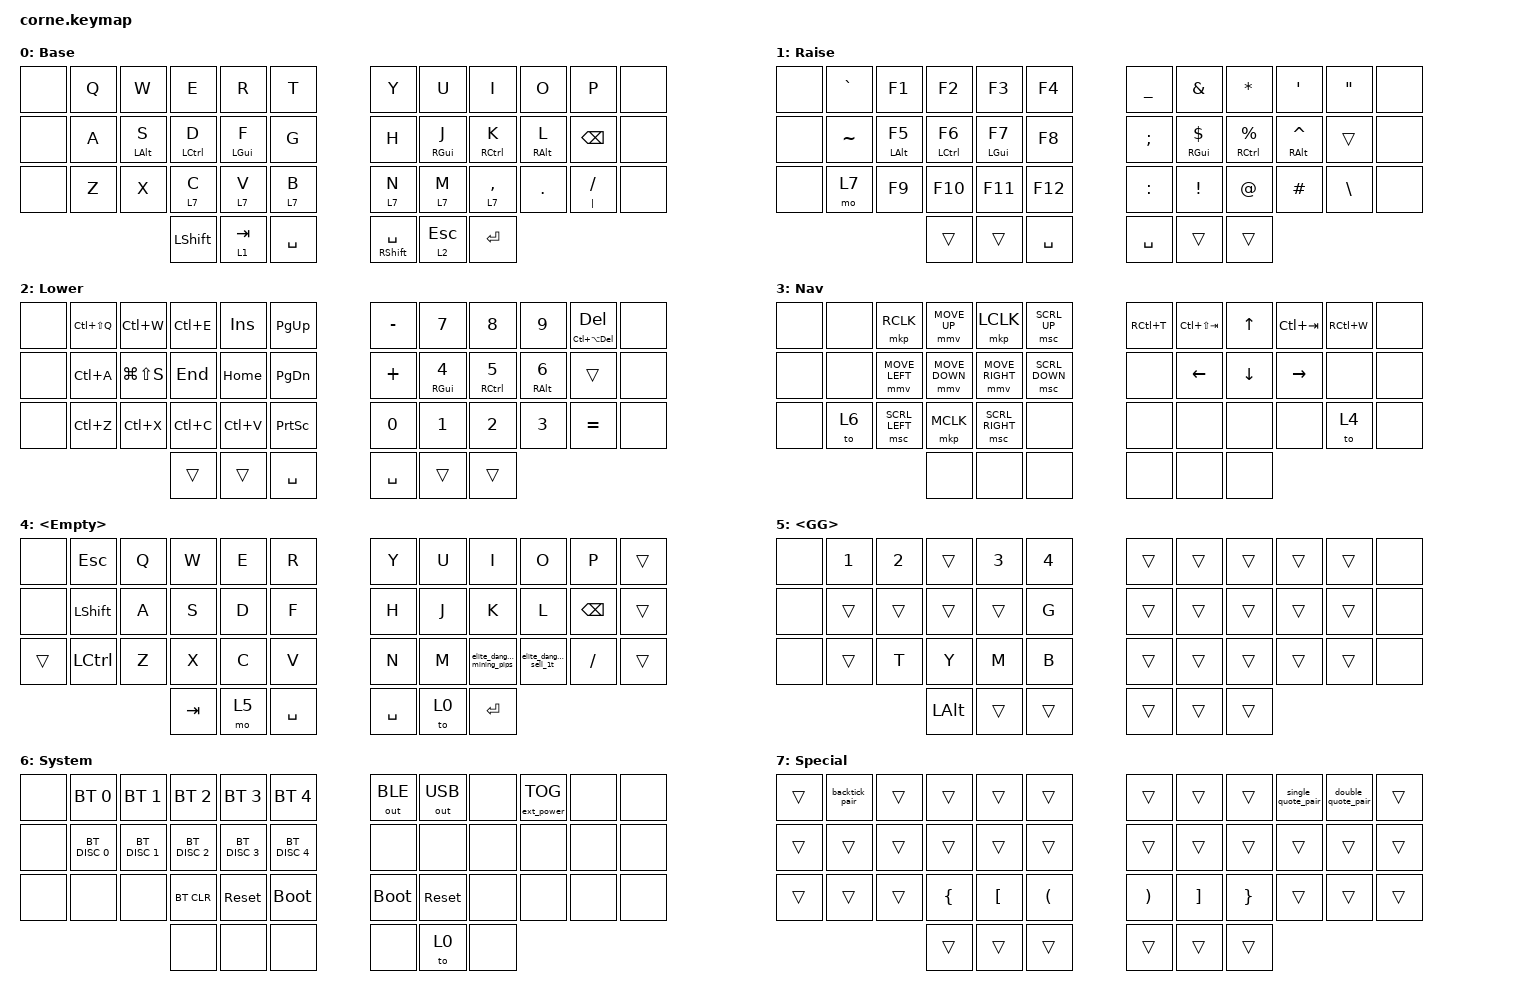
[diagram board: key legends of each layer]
/*
 * Copyright (c) 2020 The ZMK Contributors
 *
 * SPDX-License-Identifier: MIT
 */

#include <dt-bindings/zmk/mouse.h>
#include <behaviors.dtsi>
#include <dt-bindings/zmk/bt.h>
#include <dt-bindings/zmk/ext_power.h>
#include <dt-bindings/zmk/keys.h>
#include <dt-bindings/zmk/outputs.h>

&mt {
    flavor = "tap-preferred";
    tapping_term_ms = <200>;
};

/ {
    behaviors {
        TAP_DANCE: TAP_DANCE {
            compatible = "zmk,behavior-hold-tap";
            label = "TAP_DANCE";
            bindings = <&kp>, <&kp>;

            #binding-cells = <2>;
            tapping-term-ms = <200>;
            quick-tap-ms = <0>;
            flavor = "tap-preferred";
        };

        hml: hml {
            compatible = "zmk,behavior-hold-tap";
            label = "HML";
            bindings = <&kp>, <&kp>;

            #binding-cells = <2>;
            tapping-term-ms = <280>;
            quick-tap-ms = <175>;
            require-prior-idle-ms = <150>;
            flavor = "balanced";
            hold-trigger-key-positions = <6 7 8 9 10 22 21 20 19 18 30 31 32 33 34 41 39 36 38 40 37>;
            hold-trigger-on-release;
        };

        hmr: hmr {
            compatible = "zmk,behavior-hold-tap";
            label = "HMR";
            bindings = <&kp>, <&kp>;

            #binding-cells = <2>;
            tapping-term-ms = <280>;
            quick-tap-ms = <175>;
            require-prior-idle-ms = <150>;
            flavor = "balanced";
            hold-trigger-on-release;
            hold-trigger-key-positions = <1 2 3 4 5 13 14 15 16 17 25 26 27 28 29 36 38 39 41 37 40>;
        };
    };

    combos {
        compatible = "zmk,combos";

        paren_pair {
            bindings = <&open_close_paren>;
            key-positions = <29 30>;
        };

        bracket_pair {
            bindings = <&open_close_sqrbrkt>;
            key-positions = <28 31>;
        };

        brace_pair {
            bindings = <&open_close_braces>;
            key-positions = <27 32>;
        };
    };

    macros {
        open_close_paren: open_close_paren {
            compatible = "zmk,behavior-macro";
            #binding-cells = <0>;
            bindings = <&kp LEFT_PARENTHESIS &kp RIGHT_PARENTHESIS &kp LEFT_ARROW>;
            label = "OPEN_CLOSE_PAREN";
        };

        open_close_sqrbrkt: open_close_sqrbrkt {
            compatible = "zmk,behavior-macro";
            #binding-cells = <0>;
            bindings = <&kp LEFT_BRACKET &kp RIGHT_BRACKET &kp LEFT_ARROW>;
            label = "OPEN_CLOSE_SQRBRKT";
        };

        open_close_braces: open_close_braces {
            compatible = "zmk,behavior-macro";
            #binding-cells = <0>;
            bindings = <&kp LEFT_BRACE &kp RIGHT_BRACE &kp LEFT_ARROW>;
            label = "OPEN_CLOSE_BRACES";
        };

        double_quote_pair: double_quote_pair {
            compatible = "zmk,behavior-macro";
            #binding-cells = <0>;
            bindings = <&kp DOUBLE_QUOTES &kp DOUBLE_QUOTES &kp LEFT_ARROW>;
            label = "DOUBLE_QUOTE_PAIR";
        };

        single_quote_pair: single_quote_pair {
            compatible = "zmk,behavior-macro";
            #binding-cells = <0>;
            bindings = <&kp SINGLE_QUOTE &kp SINGLE_QUOTE &kp LEFT_ARROW>;
            label = "SINGLE_QUOTE_PAIR";
        };

        backtick_pair: backtick_pair {
            compatible = "zmk,behavior-macro";
            #binding-cells = <0>;
            bindings = <&kp GRAVE &kp GRAVE &kp LEFT_ARROW>;
            label = "BACKTICK_PAIR";
        };

        elite_dangerous_mining_pips: elite_dangerous_mining {
            compatible = "zmk,behavior-macro";
            #binding-cells = <0>;
            bindings = <&kp I &kp I &kp LS(S) &kp LS(D) &kp LS(D) &kp LS(D) &kp LS(D) &kp SLASH>;
            label = "ELITE_DANGEROUS_MINING";
        };

        elite_dangerous_sell_1t: elite_dangerous_sell_1t {
            compatible = "zmk,behavior-macro";
            #binding-cells = <0>;
            bindings =
                <&macro_tap &kp SPACE>,
                <&macro_press &kp W>,
                <&macro_tap_time 2000>,
                <&macro_tap &kp A>,
                <&macro_release &kp W>,
                <&macro_tap_time 15>,
                <&macro_tap &kp D &kp S>,
                <&macro_wait_time 2000>,
                <&macro_tap &kp SPACE>,
                <&macro_wait_time 15>,
                <&macro_tap &kp SPACE>,
                <&macro_press &kp W>,
                <&macro_tap_time 2000>,
                <&macro_tap &kp A>,
                <&macro_release &kp W>,
                <&macro_tap_time 15>,
                <&macro_tap &kp D &kp S>,
                <&macro_wait_time 2000>,
                <&macro_tap &kp SPACE>,
                <&macro_wait_time 15>,
                <&macro_tap &kp SPACE>,
                <&macro_press &kp W>,
                <&macro_tap_time 2000>,
                <&macro_tap &kp A>,
                <&macro_release &kp W>,
                <&macro_tap_time 15>,
                <&macro_tap &kp D &kp S>,
                <&macro_wait_time 2000>,
                <&macro_tap &kp SPACE>,
                <&macro_wait_time 15>,
                <&macro_tap &kp SPACE>,
                <&macro_press &kp W>,
                <&macro_tap_time 2000>,
                <&macro_tap &kp A>,
                <&macro_release &kp W>,
                <&macro_tap_time 15>,
                <&macro_tap &kp D &kp S>,
                <&macro_wait_time 2000>,
                <&macro_tap &kp SPACE>,
                <&macro_wait_time 15>,
                <&macro_tap &kp SPACE>,
                <&macro_press &kp W>,
                <&macro_tap_time 2000>,
                <&macro_tap &kp A>,
                <&macro_release &kp W>,
                <&macro_tap_time 15>,
                <&macro_tap &kp D &kp S>,
                <&macro_wait_time 2000>,
                <&macro_tap &kp SPACE>,
                <&macro_wait_time 15>,
                <&macro_tap &kp SPACE>,
                <&macro_press &kp W>,
                <&macro_tap_time 2000>,
                <&macro_tap &kp A>,
                <&macro_release &kp W>,
                <&macro_tap_time 15>,
                <&macro_tap &kp D &kp S>,
                <&macro_wait_time 2000>,
                <&macro_tap &kp SPACE>,
                <&macro_wait_time 15>,
                <&macro_tap &kp SPACE>,
                <&macro_press &kp W>,
                <&macro_tap_time 2000>,
                <&macro_tap &kp A>,
                <&macro_release &kp W>,
                <&macro_tap_time 15>,
                <&macro_tap &kp D &kp S>,
                <&macro_wait_time 2000>,
                <&macro_tap &kp SPACE>,
                <&macro_wait_time 15>,
                <&macro_tap &kp SPACE>,
                <&macro_press &kp W>,
                <&macro_tap_time 2000>,
                <&macro_tap &kp A>,
                <&macro_release &kp W>,
                <&macro_tap_time 15>,
                <&macro_tap &kp D &kp S>,
                <&macro_wait_time 2000>,
                <&macro_tap &kp SPACE>,
                <&macro_wait_time 15>,
                <&macro_tap &kp SPACE>,
                <&macro_press &kp W>,
                <&macro_tap_time 2000>,
                <&macro_tap &kp A>,
                <&macro_release &kp W>,
                <&macro_tap_time 15>,
                <&macro_tap &kp D &kp S>,
                <&macro_wait_time 2000>,
                <&macro_tap &kp SPACE>,
                <&macro_wait_time 15>,
                <&macro_tap &kp SPACE>,
                <&macro_press &kp W>,
                <&macro_tap_time 2000>,
                <&macro_tap &kp A>,
                <&macro_release &kp W>,
                <&macro_tap_time 15>,
                <&macro_tap &kp D &kp S>,
                <&macro_wait_time 2000>,
                <&macro_tap &kp SPACE>,
                <&macro_wait_time 15>,
                <&macro_tap &kp SPACE>,
                <&macro_press &kp W>,
                <&macro_tap_time 2000>,
                <&macro_tap &kp A>,
                <&macro_release &kp W>,
                <&macro_tap_time 15>,
                <&macro_tap &kp D &kp S>,
                <&macro_wait_time 2000>,
                <&macro_tap &kp SPACE>,
                <&macro_wait_time 15>,
                <&macro_tap &kp SPACE>,
                <&macro_press &kp W>,
                <&macro_tap_time 2000>,
                <&macro_tap &kp A>,
                <&macro_release &kp W>,
                <&macro_tap_time 15>,
                <&macro_tap &kp D &kp S>,
                <&macro_wait_time 2000>,
                <&macro_tap &kp SPACE>,
                <&macro_wait_time 15>,
                <&macro_tap &kp SPACE>,
                <&macro_press &kp W>,
                <&macro_tap_time 2000>,
                <&macro_tap &kp A>,
                <&macro_release &kp W>,
                <&macro_tap_time 15>,
                <&macro_tap &kp D &kp S>,
                <&macro_wait_time 2000>,
                <&macro_tap &kp SPACE>,
                <&macro_wait_time 15>,
                <&macro_tap &kp SPACE>,
                <&macro_press &kp W>,
                <&macro_tap_time 2000>,
                <&macro_tap &kp A>,
                <&macro_release &kp W>,
                <&macro_tap_time 15>,
                <&macro_tap &kp D &kp S>,
                <&macro_wait_time 2000>,
                <&macro_tap &kp SPACE>,
                <&macro_wait_time 15>,
                <&macro_tap &kp SPACE>,
                <&macro_press &kp W>,
                <&macro_tap_time 2000>,
                <&macro_tap &kp A>,
                <&macro_release &kp W>,
                <&macro_tap_time 15>,
                <&macro_tap &kp D &kp S>,
                <&macro_wait_time 2000>,
                <&macro_tap &kp SPACE>,
                <&macro_wait_time 15>,
                <&macro_tap &kp SPACE>,
                <&macro_press &kp W>,
                <&macro_tap_time 2000>,
                <&macro_tap &kp A>,
                <&macro_release &kp W>,
                <&macro_tap_time 15>,
                <&macro_tap &kp D &kp S>,
                <&macro_wait_time 2000>,
                <&macro_tap &kp SPACE>,
                <&macro_wait_time 15>,
                <&macro_tap &kp SPACE>,
                <&macro_press &kp W>,
                <&macro_tap_time 2000>,
                <&macro_tap &kp A>,
                <&macro_release &kp W>,
                <&macro_tap_time 15>,
                <&macro_tap &kp D &kp S>,
                <&macro_wait_time 2000>,
                <&macro_tap &kp SPACE>,
                <&macro_wait_time 15>,
                <&macro_tap &kp SPACE>,
                <&macro_press &kp W>,
                <&macro_tap_time 2000>,
                <&macro_tap &kp A>,
                <&macro_release &kp W>,
                <&macro_tap_time 15>,
                <&macro_tap &kp D &kp S>,
                <&macro_wait_time 2000>,
                <&macro_tap &kp SPACE>,
                <&macro_wait_time 15>,
                <&macro_tap &kp SPACE>,
                <&macro_press &kp W>,
                <&macro_tap_time 2000>,
                <&macro_tap &kp A>,
                <&macro_release &kp W>,
                <&macro_tap_time 15>,
                <&macro_tap &kp D &kp S>,
                <&macro_wait_time 2000>,
                <&macro_tap &kp SPACE>,
                <&macro_wait_time 15>,
                <&macro_tap &kp SPACE>,
                <&macro_press &kp W>,
                <&macro_tap_time 2000>,
                <&macro_tap &kp A>,
                <&macro_release &kp W>,
                <&macro_tap_time 15>,
                <&macro_tap &kp D &kp S>,
                <&macro_wait_time 2000>,
                <&macro_tap &kp SPACE>,
                <&macro_wait_time 15>,
                <&macro_tap &kp SPACE>,
                <&macro_press &kp W>,
                <&macro_tap_time 2000>,
                <&macro_tap &kp A>,
                <&macro_release &kp W>,
                <&macro_tap_time 15>,
                <&macro_tap &kp D &kp S>,
                <&macro_wait_time 2000>,
                <&macro_tap &kp SPACE>,
                <&macro_wait_time 15>,
                <&macro_tap &kp SPACE>,
                <&macro_press &kp W>,
                <&macro_tap_time 2000>,
                <&macro_tap &kp A>,
                <&macro_release &kp W>,
                <&macro_tap_time 15>,
                <&macro_tap &kp D &kp S>,
                <&macro_wait_time 2000>,
                <&macro_tap &kp SPACE>,
                <&macro_wait_time 15>,
                <&macro_tap &kp SPACE>,
                <&macro_press &kp W>,
                <&macro_tap_time 2000>,
                <&macro_tap &kp A>,
                <&macro_release &kp W>,
                <&macro_tap_time 15>,
                <&macro_tap &kp D &kp S>,
                <&macro_wait_time 2000>,
                <&macro_tap &kp SPACE>,
                <&macro_wait_time 15>,
                <&macro_tap &kp SPACE>,
                <&macro_press &kp W>,
                <&macro_tap_time 2000>,
                <&macro_tap &kp A>,
                <&macro_release &kp W>,
                <&macro_tap_time 15>,
                <&macro_tap &kp D &kp S>,
                <&macro_wait_time 2000>,
                <&macro_tap &kp SPACE>,
                <&macro_wait_time 15>,
                <&macro_tap &kp SPACE>,
                <&macro_press &kp W>,
                <&macro_tap_time 2000>,
                <&macro_tap &kp A>,
                <&macro_release &kp W>,
                <&macro_tap_time 15>,
                <&macro_tap &kp D &kp S>,
                <&macro_wait_time 2000>,
                <&macro_tap &kp SPACE>,
                <&macro_wait_time 15>;
            label = "ELITE_DANGEROUS_SELL_1T";
        };
    };

    keymap {
        compatible = "zmk,keymap";

        Base {
            bindings = <
&none  &kp Q  &kp W            &kp E                &kp R            &kp T        &kp Y                         &kp U             &kp I                 &kp O             &kp P                  &none
&none  &kp A  &hml LEFT_ALT S  &hml LEFT_CONTROL D  &hml LEFT_GUI F  &kp G        &kp H                         &hmr RIGHT_GUI J  &hmr RIGHT_CONTROL K  &hmr RIGHT_ALT L  &kp BSPC               &none
&none  &kp Z  &kp X            &lt 7 C              &lt 7 V          &lt 7 B      &lt 7 N                       &lt 7 M           &lt 7 COMMA           &kp PERIOD        &TAP_DANCE PIPE SLASH  &none
                               &kp LEFT_SHIFT       &lt 1 TAB        &kp SPACE    &TAP_DANCE RIGHT_SHIFT SPACE  &lt 2 ESCAPE      &kp ENTER
            >;

            label = "Base";
        };

        Raise {
            bindings = <
&none  &kp GRAVE  &kp F1            &kp F2                &kp F3            &kp F4       &kp UNDER      &kp AMPERSAND          &kp ASTRK                   &kp APOS              &kp DOUBLE_QUOTES  &none
&none  &kp TILDE  &hml LEFT_ALT F5  &hml LEFT_CONTROL F6  &hml LEFT_GUI F7  &kp F8       &kp SEMICOLON  &hmr RIGHT_GUI DOLLAR  &hmr RIGHT_CONTROL PERCENT  &hmr RIGHT_ALT CARET  &trans             &none
&none  &mo 7      &kp F9            &kp F10               &kp F11           &kp F12      &kp COLON      &kp EXCL               &kp AT                      &kp HASH              &kp BACKSLASH      &none
                                    &trans                &trans            &kp SPACE    &kp SPACE      &trans                 &trans
            >;

            label = "Raise";
        };

        Lower {
            bindings = <
&none  &kp LC(LS(Q))  &kp LC(W)      &kp LC(E)  &kp INSERT  &kp PAGE_UP        &kp MINUS  &kp N7              &kp N8                 &kp N9                   &TAP_DANCE LC(LA(DELETE)) DELETE  &none
&none  &kp LC(A)      &kp LG(LS(S))  &kp END    &kp HOME    &kp PAGE_DOWN      &kp PLUS   &hmr RGUI NUMBER_4  &hmr RIGHT_CONTROL N5  &hmr RIGHT_ALT NUMBER_6  &trans                            &none
&none  &kp LC(Z)      &kp LC(X)      &kp LC(C)  &kp LC(V)   &kp PRINTSCREEN    &kp N0     &kp NUMBER_1        &kp NUMBER_2           &kp NUMBER_3             &kp EQUAL                         &none
                                     &trans     &trans      &kp SPACE          &kp SPACE  &trans              &trans
            >;

            label = "Lower";
        };

        Navigation {
            bindings = <
&none  &none  &mkp RCLK       &mmv MOVE_UP    &mkp LCLK        &msc SCRL_UP      &kp RC(T)  &kp LC(LS(TAB))  &kp UP    &kp LC(TAB)  &kp RC(W)  &none
&none  &none  &mmv MOVE_LEFT  &mmv MOVE_DOWN  &mmv MOVE_RIGHT  &msc SCRL_DOWN    &none      &kp LEFT         &kp DOWN  &kp RIGHT    &none      &none
&none  &to 6  &msc SCRL_LEFT  &mkp MCLK       &msc SCRL_RIGHT  &none             &none      &none            &none     &none        &to 4      &none
                              &none           &none            &none             &none      &none            &none
            >;

            label = "Nav";
        };

        Gaming {
            bindings = <
&none   &kp ESC    &kp Q  &kp W    &kp E  &kp R        &kp Y      &kp U  &kp I                         &kp O                     &kp P     &trans
&none   &kp LSHFT  &kp A  &kp S    &kp D  &kp F        &kp H      &kp J  &kp K                         &kp L                     &kp BSPC  &trans
&trans  &kp LCTRL  &kp Z  &kp X    &kp C  &kp V        &kp N      &kp M  &elite_dangerous_mining_pips  &elite_dangerous_sell_1t  &kp FSLH  &trans
                          &kp TAB  &mo 5  &kp SPACE    &kp SPACE  &to 0  &kp RET
            >;

            label = "<Empty>";
        };

        Gaming_sublayer {
            bindings = <
&none  &kp N1  &kp N2  &trans        &kp NUMBER_3  &kp N4    &trans  &trans  &trans  &trans  &trans  &none
&none  &trans  &trans  &trans        &trans        &kp G     &trans  &trans  &trans  &trans  &trans  &none
&none  &trans  &kp T   &kp Y         &kp M         &kp B     &trans  &trans  &trans  &trans  &trans  &none
                       &kp LEFT_ALT  &trans        &trans    &trans  &trans  &trans
            >;

            label = "<GG>";
        };

        System {
            bindings = <
&none  &bt BT_SEL 0   &bt BT_SEL 1   &bt BT_SEL 2   &bt BT_SEL 3   &bt BT_SEL 4     &out OUT_BLE  &out OUT_USB  &none  &ext_power EP_TOG  &none  &none
&none  &bt BT_DISC 0  &bt BT_DISC 1  &bt BT_DISC 2  &bt BT_DISC 3  &bt BT_DISC 4    &none         &none         &none  &none              &none  &none
&none  &none          &none          &bt BT_CLR     &sys_reset     &bootloader      &bootloader   &sys_reset    &none  &none              &none  &none
                                     &none          &none          &none            &none         &to 0         &none
            >;

            label = "System";
        };

        Symbol_combo {
            bindings = <
&trans  &backtick_pair  &trans  &trans          &trans            &trans                  &trans                 &trans             &trans           &single_quote_pair  &double_quote_pair  &trans
&trans  &trans          &trans  &trans          &trans            &trans                  &trans                 &trans             &trans           &trans              &trans              &trans
&trans  &trans          &trans  &kp LEFT_BRACE  &kp LEFT_BRACKET  &kp LEFT_PARENTHESIS    &kp RIGHT_PARENTHESIS  &kp RIGHT_BRACKET  &kp RIGHT_BRACE  &trans              &trans              &trans
                                &trans          &trans            &trans                  &trans                 &trans             &trans
            >;

            label = "Special";
        };
    };

    conditional_layers {
        compatible = "zmk,conditional-layers";

        nav {
            if-layers = <1 2>;
            then-layer = <3>;
        };
    };
};
